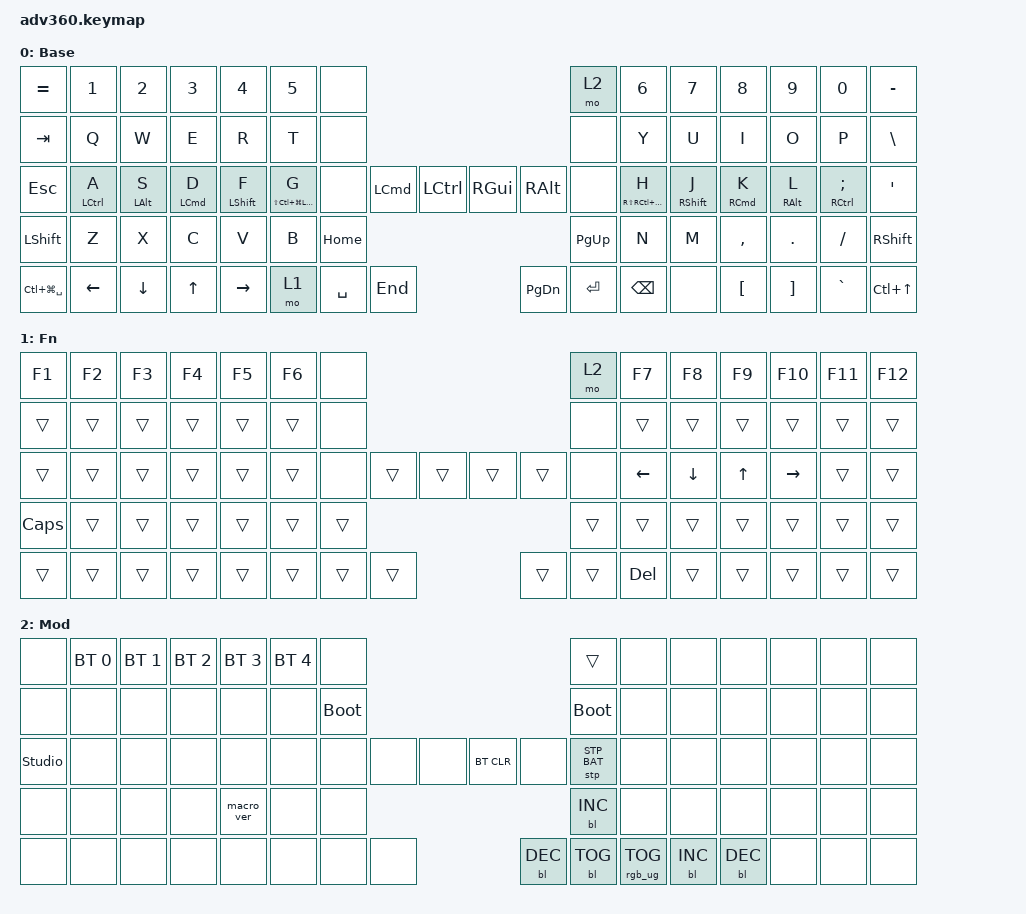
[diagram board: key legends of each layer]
#include <behaviors.dtsi>
#include <dt-bindings/zmk/keys.h>
#include <dt-bindings/zmk/bt.h>
#include <dt-bindings/zmk/rgb.h>
#include <dt-bindings/zmk/stp.h>
#include <dt-bindings/zmk/backlight.h>
#include <dt-bindings/zmk/pointing.h>

/ {
    behaviors {
      #include "macros.dtsi"
      #include "version.dtsi"

      hm: homerow_mods {
          compatible = "zmk,behavior-hold-tap";
          label = "HOMEROW_MODS";
          #binding-cells = <2>;
          tapping-term-ms = <200>;
          quick_tap_ms = <175>;
          flavor = "tap-preferred";
          bindings = <&kp>, <&kp>;
      };

      hml: hml {
          compatible = "zmk,behavior-hold-tap";
          label = "HML";
          bindings = <&kp>, <&kp>;

          #binding-cells = <2>;
          tapping-term-ms = <250>;
          quick-tap-ms = <150>;
          flavor = "balanced";
          hold-trigger-key-positions = <7 8 9 10 11 12 13 21 22 23 24 25 26 27 37 38 39 40 41 42 43 44 45 53 54 55 56 57 58 59 68 69 70 71 72 73 74 75 35 36 52 66 65 67>;
          hold-trigger-on-release;
      };

      hmr: hmr {
          compatible = "zmk,behavior-hold-tap";
          label = "HMR";
          bindings = <&kp>, <&kp>;

          #binding-cells = <2>;
          tapping-term-ms = <250>;
          quick-tap-ms = <150>;
          flavor = "balanced";
          hold-trigger-key-positions = <0 1 2 3 4 5 6 14 15 16 17 18 19 20 28 29 30 31 32 33 34 35 36 37 46 47 48 49 50 51 52 53 60 61 62 63 64 65 66 67 68 70 69 38>;
          hold-trigger-on-release;
      };

      hmlshift: hmlshift {
          compatible = "zmk,behavior-hold-tap";
          label = "HMLSHIFT";
          bindings = <&kp>, <&kp>;

          #binding-cells = <2>;
          tapping-term-ms = <200>;
          quick-tap-ms = <150>;
          flavor = "balanced";
          hold-trigger-key-positions = <7 8 9 10 11 12 13 21 22 23 24 25 26 27 37 38 39 40 41 42 43 44 45 53 54 55 56 57 58 59 68 69 70 71 72 73 74 75 35 36 52 66 65 67>;
          hold-trigger-on-release;
      };

      hmrshift: hmrshift {
          compatible = "zmk,behavior-hold-tap";
          label = "HMRSHIFT";
          bindings = <&kp>, <&kp>;

          #binding-cells = <2>;
          tapping-term-ms = <200>;
          quick-tap-ms = <150>;
          flavor = "balanced";
          hold-trigger-key-positions = <0 1 2 3 4 5 6 14 15 16 17 18 19 20 28 29 30 31 32 33 34 35 36 37 46 47 48 49 50 51 52 53 60 61 62 63 64 65 66 67 68 70 69 38>;
          hold-trigger-on-release;
      };
    };

    combos {
        compatible = "zmk,combos";
        
        combo_caps {
            bindings = <&caps_word>;
            key-positions = <46 59>;
            layers = <0>;
        };
    };

  keymap {
    compatible = "zmk,keymap";

    // key positions
    //  -------------------------------------------------------------------------------------------------------------------------------------------------------------------------------------
    //  |     0   |     1   |    2   |    3   |     4    |   5  |   6  |                                                         |   7  |   8  |   9  |   1O    |   11   |   12    |   13   |
    //  |    14   |    15   |   16   |   17   |    18    |  19  |  20  |                                                         |  21  |  22  |  23  |   24    |   25   |   26    |   27   |
    //  |    28   |    29   |   30   |   31   |    32    |  33  |  34  |        |   35    |   36    |   37    |   38    |        |  39  |  40  |  41  |   42    |   43   |   44    |   45   |
    //  |    46   |    47   |   48   |   49   |    50    |  51  |                         |   52    |   53    |                         |  54  |  55  |   56    |   57   |   58    |   59   |
    //  |    60   |    61   |   62   |   63   |    64    |             |   65   |   66    |   67    |   68    |   69    |   70   |             |  71  |   72    |   73   |   74    |   75   |
    //  -------------------------------------------------------------------------------------------------------------------------------------------------------------------------------------

    default_layer {
      display-name = "Base";
      bindings = <
        &kp EQUAL           &kp N1        &kp N2        &kp N3        &kp N4        &kp N5                            &none                                                            &mo 2 &kp N6 &kp N7 &kp N8    &kp N9   &kp N0    &kp MINUS
        &kp TAB             &kp Q         &kp W         &kp E         &kp R         &kp T                             &none                                                             &none &kp Y  &kp U  &kp I     &kp O    &kp P     &kp BSLH
        &kp ESC             &hml LCTRL A  &hml LALT S   &hml LCMD D   &hml LSHFT F  &hmlshift LS(LC(LG(LEFT_ALT))) G  &none         &kp LCMD  &kp LCTRL &kp RGUI  &kp RALT            &none &hmrshift RS(RC(RG(RIGHT_ALT))) H   &hmr RSHFT J   &hmr RCMD K     &hmr RALT L    &hmr RCTRL SEMI  &kp SQT
        &kp LSHFT           &kp Z         &kp X         &kp C         &kp V         &kp B                                                     &kp HOME  &kp PG_UP                           &kp N  &kp M  &kp COMMA &kp DOT  &kp FSLH  &kp RSHFT
        &kp LC(LG(SPACE))   &kp LEFT      &kp DOWN      &kp UP        &kp RIGHT                                               &mo 1 &kp SPACE &kp END   &kp PG_DN &kp ENTER &kp BSPC               &none  &kp LBKT  &kp RBKT &kp GRAVE &kp LC(UP)
      >;
    };
    fn {
      display-name = "Fn";
      bindings = <
        &kp F1   &kp F2 &kp F3 &kp F4 &kp F5 &kp F6 &none                                           &mo 2 &kp F7   &kp F8   &kp F9 &kp F10    &kp F11 &kp F12
        &trans   &trans &trans &trans &trans &trans  &none                                           &none &trans   &trans   &trans &trans     &trans  &trans
        &trans   &trans &trans &trans &trans &trans  &none        &trans &trans &trans &trans        &none &kp LEFT &kp DOWN &kp UP &kp RIGHT  &trans  &trans
        &kp CAPS &trans &trans &trans &trans &trans                      &trans &trans                     &trans   &trans   &trans &trans     &trans  &trans
        &trans   &trans &trans &trans &trans               &trans &trans &trans &trans &trans &kp DEL               &trans   &trans &trans     &trans  &trans
      >;
    };
    mod {
      display-name = "Mod"; 
      bindings = <
        &none           &bt BT_SEL 0  &bt BT_SEL 1  &bt BT_SEL 2  &bt BT_SEL 3  &bt BT_SEL 4  &none                                                               &trans       &none        &none        &none        &none &none &none
        &none           &none         &none         &none         &none         &none         &bootloader                                                         &bootloader  &none        &none        &none        &none &none &none
        &studio_unlock  &none         &none         &none         &none         &none         &none             &none &none &bt BT_CLR &none                      &stp STP_BAT &none        &none        &none        &none &none &none
        &none           &none         &none         &none         &macro_ver    &none                                 &none &bl BL_INC                                         &none        &none        &none        &none &none &none
        &none           &none         &none         &none         &none                                   &none &none &none &bl BL_DEC &bl BL_TOG &rgb_ug RGB_TOG                           &bl BL_INC   &bl BL_DEC   &none &none &none
      >;
    };
    extra1 { 
      display-name = "Red";    
      status = "reserved";
    };

    extra2 { 
      display-name = "Purple";    
      status = "reserved";
    };

    extra3 { 
      display-name = "Cyan";    
      status = "reserved";
    };

    extra4 { 
      display-name = "Yellow";    
      status = "reserved";
    };
  };
};
